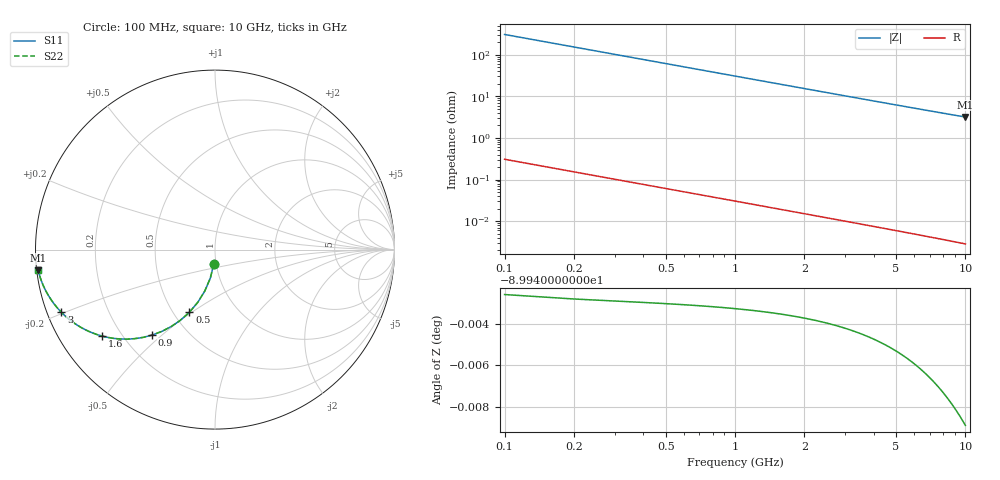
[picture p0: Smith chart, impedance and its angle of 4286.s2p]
# Hz S RI R 50.00
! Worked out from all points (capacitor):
!   100 points, 100 MHz to 10 GHz, reference 50 ohm
!   read as one part in shunt: C = 5.19 pF near 100 MHz
!   lowest |Z| = 3.18 ohm at 10 GHz (marker M1)
!   S11 on the Smith chart (normalised r, x): 100 MHz: 0.97, -0.16; 500 MHz: 0.60, -0.49; 900 MHz: 0.32, -0.46; 1.6 GHz: 0.13, -0.33; 3 GHz: 0.04, -0.20; 10 GHz: 0.00, -0.06
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1e8  -0.00667 -0.0809  0.9933 -0.081  0.9933 -0.081  -0.00667 -0.0809
2e8  -0.026 -0.1586  0.974 -0.1588  0.974 -0.1588  -0.026 -0.1586
3e8  -0.0566 -0.2305  0.9434 -0.2307  0.9434 -0.2307  -0.0566 -0.2305
4e8  -0.0963 -0.2943  0.9037 -0.2947  0.9037 -0.2947  -0.0963 -0.2943
5e8  -0.1426 -0.3489  0.8574 -0.3494  0.8574 -0.3494  -0.1426 -0.3489
6e8  -0.1931 -0.394  0.8069 -0.3945  0.8069 -0.3945  -0.1931 -0.394
7e8  -0.2456 -0.4296  0.7543 -0.4303  0.7543 -0.4303  -0.2456 -0.4296
9e8  -0.3497 -0.476  0.6503 -0.4768  0.6503 -0.4768  -0.3497 -0.476
1.2e9  -0.4885 -0.4988  0.5115 -0.4999  0.5115 -0.4999  -0.4885 -0.4988
1.4e9  -0.565 -0.4946  0.435 -0.4959  0.435 -0.4959  -0.565 -0.4946
1.6e9  -0.629 -0.4818  0.371 -0.4833  0.371 -0.4833  -0.629 -0.4818
1.8e9  -0.6819 -0.4644  0.318 -0.4661  0.318 -0.4661  -0.6819 -0.4644
2e9  -0.7257 -0.4447  0.2743 -0.4466  0.2743 -0.4466  -0.7257 -0.4447
2.3e9  -0.7775 -0.4143  0.2224 -0.4165  0.2224 -0.4165  -0.7775 -0.4143
2.6e9  -0.8169 -0.385  0.1831 -0.3874  0.1831 -0.3874  -0.8169 -0.385
3e9  -0.8558 -0.3494  0.1442 -0.3522  0.1442 -0.3522  -0.8558 -0.3494
3.4e9  -0.8839 -0.3182  0.1161 -0.3214  0.1161 -0.3214  -0.8839 -0.3182
4.2e9  -0.9206 -0.2678  0.0793 -0.2717  0.0793 -0.2717  -0.9206 -0.2678
5.1e9  -0.9447 -0.2256  0.0553 -0.2304  0.0553 -0.2304  -0.9447 -0.2256
6.7e9  -0.9672 -0.1744  0.0328 -0.1808  0.0328 -0.1808  -0.9672 -0.1744
8.4e9  -0.9789 -0.1391  0.0211 -0.1471  0.0211 -0.1471  -0.9789 -0.1391
1e10  -0.985 -0.1159  0.0149 -0.1255  0.0149 -0.1255  -0.985 -0.1159
